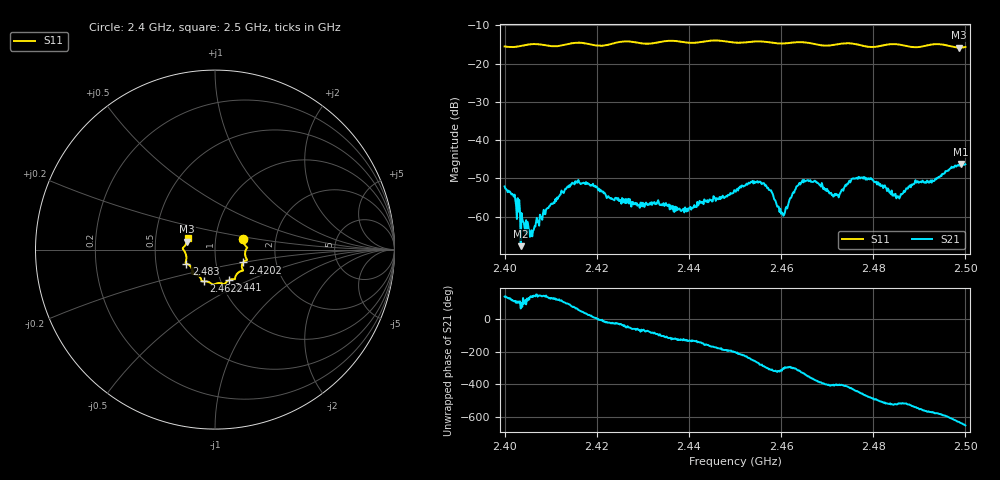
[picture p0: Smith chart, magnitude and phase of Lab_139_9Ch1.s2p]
# Hz S RI R 50
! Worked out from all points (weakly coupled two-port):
!   601 points, 2.4 GHz to 2.5 GHz, reference 50 ohm
!   highest |S21| = -46.21 dB at 2.499 GHz (marker M1); lowest = -67.7 dB at 2.4035 GHz (marker M2)
!   lowest |S11| = -15.8 dB at 2.4987 GHz (marker M3), VSWR 1.39, Z = 36.4 + j3.3 ohm
!   |S11| at or under -10 dB: start of sweep to end of sweep
!   S12 and S22 are empty: the file has one direction only
!   S11 on the Smith chart (normalised r, x): 2.4 GHz: 1.36, +0.17; 2.4202 GHz: 1.35, -0.20; 2.441 GHz: 1.10, -0.39; 2.4622 GHz: 0.83, -0.30; 2.483 GHz: 0.72, -0.12; 2.5 GHz: 0.73, +0.09
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2.4e9  0.1566 0.0604  -0.00194 0.00154  0 0  0 0
2.401833e9  0.1602 0.0383  -0.000815 0.00175  0 0  0 0
2.4035e9  0.1686 0.0227  0.000153 0.000381  0 0  0 0
2.405833e9  0.179 0.0137  -0.000492 0.000444  0 0  0 0
2.412167e9  0.1685 -0.0323  -0.000884 0.00174  0 0  0 0
2.416667e9  0.1776 -0.0584  0.00173 0.00207  0 0  0 0
2.420167e9  0.1562 -0.0718  0.00236 5.56e-05  0 0  0 0
2.433333e9  0.1131 -0.1523  -0.000116 -0.00163  0 0  0 0
2.441e9  0.0769 -0.1705  -0.000872 -0.000976  0 0  0 0
2.45e9  0.0266 -0.1863  -0.00202 0.00077  0 0  0 0
2.455833e9  -0.0132 -0.1945  0.000409 0.00263  0 0  0 0
2.460167e9  -0.0445 -0.1776  0.000822 0.000781  0 0  0 0
2.462167e9  -0.0631 -0.1764  0.000848 0.00154  0 0  0 0
2.466667e9  -0.0765 -0.1667  0.00284 -0.000249  0 0  0 0
2.4715e9  -0.1106 -0.1371  0.00122 -0.0014  0 0  0 0
2.4765e9  -0.1251 -0.1272  0.000448 -0.0032  0 0  0 0
2.483e9  -0.1592 -0.078  -0.00201 -0.00078  0 0  0 0
2.483333e9  -0.1607 -0.0773  -0.00213 -0.00073  0 0  0 0
2.4855e9  -0.1635 -0.0707  -0.00168 -0.000686  0 0  0 0
2.498667e9  -0.1555 0.0441  0.000244 0.00461  0 0  0 0
2.499e9  -0.1547 0.0487  0.000848 0.00482  0 0  0 0
2.5e9  -0.1527 0.0627  0.00203 0.00437  0 0  0 0
